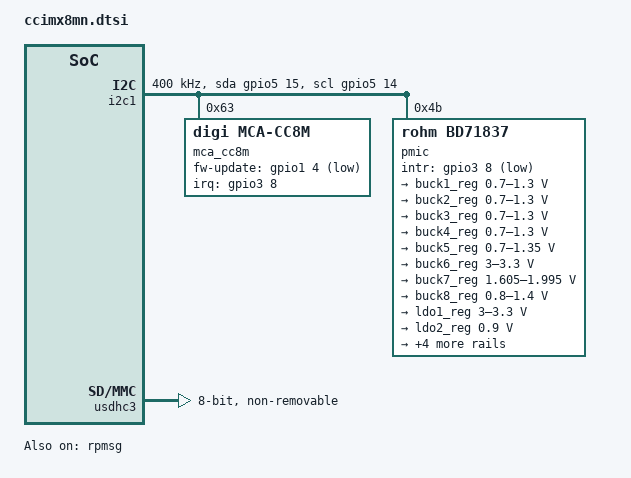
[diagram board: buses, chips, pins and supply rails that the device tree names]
/*
 * Copyright 2019, Digi International Inc.
 *
 * Permission to use, copy, modify, and/or distribute this software for any
 * purpose with or without fee is hereby granted, provided that the above
 * copyright notice and this permission notice appear in all copies.
 * THE SOFTWARE IS PROVIDED "AS IS" AND THE AUTHOR DISCLAIMS ALL WARRANTIES
 * WITH REGARD TO THIS SOFTWARE INCLUDING ALL IMPLIED WARRANTIES OF
 * MERCHANTABILITY AND FITNESS. IN NO EVENT SHALL THE AUTHOR BE LIABLE FOR
 * ANY SPECIAL, DIRECT, INDIRECT, OR CONSEQUENTIAL DAMAGES OR ANY DAMAGES
 * WHATSOEVER RESULTING FROM LOSS OF USE, DATA OR PROFITS, WHETHER IN AN
 * ACTION OF CONTRACT, NEGLIGENCE OR OTHER TORTIOUS ACTION, ARISING OUT OF
 * OR IN CONNECTION WITH THE USE OR PERFORMANCE OF THIS SOFTWARE.
 */

/ {
	aliases {
		i2c1 = &i2c1;
		i2c2 = &i2c2;
		i2c3 = &i2c3;
		i2c4 = &i2c4;
		mmc0 = &usdhc3;
		mmc1 = &usdhc2;
		mmc2 = &usdhc1;
	};

	/* Bluetooth, disabled by default */
	bluetooth: bluetooth {
		/* U-Boot will fill in the MAC address here */
		compatible = "digi,bluetooth-cc8x";
		vin-supply = <&reg_rf_bt_en>;
		status = "disabled";
	};

	caam_keyblob: caam-keyblob {
		compatible = "fsl,sec-v4.0-keyblob";
	};

	/* Wifi/Bluetooth regulators, disabled by default */
	regulators {
		compatible = "simple-bus";
		#address-cells = <1>;
		#size-cells = <0>;

		reg_3v3_rf: regulator-som@1 {
			compatible = "regulator-fixed";
			reg = <1>;
			pinctrl-names = "default";
			pinctrl-0 = <&pinctrl_reg_3v3_rf>;
			regulator-name = "3v3_rf";
			regulator-min-microvolt = <3300000>;
			regulator-max-microvolt = <3300000>;
			gpio = <&gpio3 14 GPIO_ACTIVE_HIGH>; /* 3V3_RF_EN */
			enable-active-high;
			startup-delay-us = <100000>;
			status = "disabled";
		};

		reg_rf_wl_en: regulator-som@2 {
			compatible = "regulator-fixed";
			reg = <2>;
			pinctrl-names = "default";
			pinctrl-0 = <&pinctrl_reg_rf_wl_en>;
			regulator-name = "rf_wl_en";
			regulator-min-microvolt = <3300000>;
			regulator-max-microvolt = <3300000>;
			gpio = <&gpio2 9 GPIO_ACTIVE_HIGH>; /* WL_EN */
			enable-active-high;
			startup-delay-us = <100>;
			vin-supply = <&reg_3v3_rf>;
			status = "disabled";
		};

		reg_rf_bt_en: regulator-som@3 {
			compatible = "regulator-fixed";
			reg = <3>;
			pinctrl-names = "default";
			pinctrl-0 = <&pinctrl_reg_rf_bt_en>;
			regulator-name = "rf_bt_en";
			regulator-min-microvolt = <3300000>;
			regulator-max-microvolt = <3300000>;
			gpio = <&gpio2 8 GPIO_ACTIVE_HIGH>; /* BT_EN */
			enable-active-high;
			startup-delay-us = <100>;
			vin-supply = <&reg_3v3_rf>;
			status = "disabled";
		};
	};

	reserved-memory {
		linux,cma {
			digi,size-table = <
				/* RAM         CMA*/
				0 0x20000000 0 0x6000000	/* 512 MB variants -> 96 MB of CMA */
				0 0x40000000 0 0x14000000	/* 1 GB variants   -> 320 MB of CMA */
			>;
		};
	};
};

/* I2C1 connected to MCA, PMIC and crypto chip */
&i2c1 {
	assigned-clock-rates = <48000000>;
	clock-frequency = <400000>;
	digi,buffer-time-us = <35>;
	pinctrl-names = "default", "gpio";
	pinctrl-0 = <&pinctrl_i2c1>;
	pinctrl-1 = <&pinctrl_i2c1_gpio>;
	scl-gpios = <&gpio5 14 GPIO_ACTIVE_HIGH>;
	sda-gpios = <&gpio5 15 GPIO_ACTIVE_HIGH>;
	status = "okay";

	mca_cc8m: mca@63 {
		compatible = "digi,mca-cc8m";
		reg = <0x63>;
		interrupt-parent = <&gpio3>;
		interrupts = <8 IRQ_TYPE_LEVEL_HIGH>;
		interrupt-controller;
		#interrupt-cells = <2>;
		fw-update-gpio = <&gpio1 4 GPIO_ACTIVE_LOW>;
		pinctrl-names = "default";
		pinctrl-0 = <&pinctrl_mca_cc8m>;

		mca_adc: adc {
			compatible = "digi,mca-cc8m-adc";
			digi,adc-vref = <3000000>;
		};

		mca_gpio: gpio {
			compatible = "digi,mca-cc8m-gpio";
			gpio-controller;
			#gpio-cells = <2>;

			interrupt-parent = <&mca_cc8m>;
			interrupt-controller;
			#interrupt-cells = <2>;

			/* Disable all mca GPIOs as power off wake up sources */
			pwroff-wakeup-capable-ios = <>;
		};

		pwrkey {
			compatible = "digi,mca-cc8m-pwrkey";
			digi,key-power;
			digi,key-power-up;
			digi,key-sleep;
			digi,debounce-ms = <100>;
			digi,pwroff-delay-sec = <6>;
			digi,pwroff-guard-sec = <30>;
		};

		rtc {
			compatible = "digi,mca-cc8m-rtc";
		};

		wdt {
			compatible = "digi,mca-cc8m-wdt";
			digi,full-reset;
		};

		pwms {
			compatible = "digi,mca-pwm";
			#address-cells = <1>;
			#size-cells = <0>;

			mca_pwm0: pwm@0 {
				reg = <0>;
				pwm-channels = <6>;
				#pwm-cells = <3>;
			};
		};

		mca_tamper: tamper {
			compatible = "digi,mca-cc8m-tamper";
		};

		mca_uart: uart {
			compatible = "digi,mca-cc8m-uart";
			#address-cells = <1>;
			#size-cells = <0>;

			mca_uart0: serial@0x900 {
				reg = <0x900>;
				index = <0>;
			};

			mca_uart1: serial@0x920 {
				reg = <0x920>;
				index = <1>;
			};

			mca_uart2: serial@0x940 {
				reg = <0x940>;
				index = <2>;
			};
		};
	};

	pmic: bd71837@4b {
		reg = <0x4b>;
		compatible = "rohm,bd71837";
		/* PMIC BD71837 PMIC_nINT GPIO3_IO8 */
		/* pinctrl configured by pinctrl_mca_cc8x */
		gpio_intr = <&gpio3 8 GPIO_ACTIVE_LOW>;

		gpo {
			rohm,drv = <0x0C>;	/* 0b0000_1100 all gpos with cmos output mode */
		};

		regulators {
			#address-cells = <1>;
			#size-cells = <0>;

			bd71837,pmic-buck2-uses-i2c-dvs;
			bd71837,pmic-buck2-dvs-voltage = <1000000>, <900000>, <0>; /* VDD_ARM: Run-Idle */

			buck1_reg: regulator@0 {
				reg = <0>;
				regulator-compatible = "buck1";
				regulator-min-microvolt = <700000>;
				regulator-max-microvolt = <1300000>;
				regulator-boot-on;
				regulator-always-on;
				regulator-ramp-delay = <1250>;
			};

			buck2_reg: regulator@1 {
				reg = <1>;
				regulator-compatible = "buck2";
				regulator-min-microvolt = <700000>;
				regulator-max-microvolt = <1300000>;
				regulator-boot-on;
				regulator-always-on;
				regulator-ramp-delay = <1250>;
			};

			buck3_reg: regulator@2 {
				reg = <2>;
				regulator-compatible = "buck3";
				regulator-min-microvolt = <700000>;
				regulator-max-microvolt = <1300000>;
			};

			buck4_reg: regulator@3 {
				reg = <3>;
				regulator-compatible = "buck4";
				regulator-min-microvolt = <700000>;
				regulator-max-microvolt = <1300000>;
			};

			buck5_reg: regulator@4 {
				reg = <4>;
				regulator-compatible = "buck5";
				regulator-min-microvolt = <700000>;
				regulator-max-microvolt = <1350000>;
			};

			buck6_reg: regulator@5 {
				reg = <5>;
				regulator-compatible = "buck6";
				regulator-min-microvolt = <3000000>;
				regulator-max-microvolt = <3300000>;
				regulator-boot-on;
				regulator-always-on;
			};

			buck7_reg: regulator@6 {
				reg = <6>;
				regulator-compatible = "buck7";
				regulator-min-microvolt = <1605000>;
				regulator-max-microvolt = <1995000>;
				regulator-boot-on;
				regulator-always-on;
			};

			buck8_reg: regulator@7 {
				reg = <7>;
				regulator-compatible = "buck8";
				regulator-min-microvolt = <800000>;
				regulator-max-microvolt = <1400000>;
				regulator-boot-on;
				regulator-always-on;
			};

			ldo1_reg: regulator@8 {
				reg = <8>;
				regulator-compatible = "ldo1";
				regulator-min-microvolt = <3000000>;
				regulator-max-microvolt = <3300000>;
				regulator-boot-on;
				regulator-always-on;
			};

			ldo2_reg: regulator@9 {
				reg = <9>;
				regulator-compatible = "ldo2";
				regulator-min-microvolt = <900000>;
				regulator-max-microvolt = <900000>;
				regulator-boot-on;
				regulator-always-on;
			};

			ldo3_reg: regulator@10 {
				reg = <10>;
				regulator-compatible = "ldo3";
				regulator-min-microvolt = <1800000>;
				regulator-max-microvolt = <3300000>;
				regulator-boot-on;
				regulator-always-on;
			};

			ldo4_reg: regulator@11 {
				reg = <11>;
				regulator-compatible = "ldo4";
				regulator-min-microvolt = <900000>;
				regulator-max-microvolt = <1800000>;
			};

			ldo5_reg: regulator@12 {
				reg = <12>;
				regulator-compatible = "ldo5";
				regulator-min-microvolt = <1800000>;
				regulator-max-microvolt = <3300000>;
			};

			ldo6_reg: regulator@13 {
				reg = <13>;
				regulator-compatible = "ldo6";
				regulator-min-microvolt = <900000>;
				regulator-max-microvolt = <1800000>;
				regulator-boot-on;
				regulator-always-on;
			};
		};
	};
};

&rpmsg{
	/*
	 * 64K for one rpmsg instance:
	 * --0xb8000000~0xb800ffff: pingpong
	 */
	vdev-nums = <1>;
	reg = <0x0 0xb8000000 0x0 0x10000>;
	status = "okay";
};

/* Disable CPU RTC */
&snvs_rtc {
	status = "disabled";
};

/* Disable CPU power key */
&snvs_pwrkey {
	status = "disabled";
};

/* UART2 (Bluetooth), disabled by default */
&uart2 {
	pinctrl-names = "default";
	pinctrl-0 = <&pinctrl_uart2>;
	assigned-clocks = <&clk IMX8MN_CLK_UART2>;
	assigned-clock-parents = <&clk IMX8MN_SYS_PLL1_80M>;
	fsl,uart-has-rtscts;
	status = "disabled";
};

/* USDHC1 (Wireless), disabled by default */
&usdhc1 {
	pinctrl-names = "default", "sleep";
	pinctrl-0 = <&pinctrl_usdhc1>;
	non-removable;
	no-1-8-v;
	bus-width = <4>;
	vmmc-supply = <&reg_rf_wl_en>;
	status = "disabled";
};

/* eMMC */
&usdhc3 {
	pinctrl-names = "default", "state_100mhz", "state_200mhz";
	pinctrl-0 = <&pinctrl_usdhc3>;
	pinctrl-1 = <&pinctrl_usdhc3_100mhz>;
	pinctrl-2 = <&pinctrl_usdhc3_200mhz>;
	bus-width = <8>;
	non-removable;
	status = "okay";
};

/* IOMUX */
&iomuxc {
	/* Internal I2C (MCA, Crypto chip) */
	pinctrl_i2c1: i2c1grp {
		fsl,pins = <
			MX8MN_IOMUXC_I2C1_SCL_I2C1_SCL			0x400001c3
			MX8MN_IOMUXC_I2C1_SDA_I2C1_SDA			0x400001c3
		>;
	};

	pinctrl_i2c1_gpio: i2c1grp-gpio {
		fsl,pins = <
			MX8MN_IOMUXC_I2C1_SCL_GPIO5_IO14		0x1c3
			MX8MN_IOMUXC_I2C1_SDA_GPIO5_IO15		0x1c3
		>;
	};

	pinctrl_mca_cc8m: mcagrp {
		fsl,pins = <
			/* MCA_nINT */
			MX8MN_IOMUXC_NAND_DATA02_GPIO3_IO8	0x56
			/* MCA_FW_UPDATE */
			MX8MN_IOMUXC_GPIO1_IO04_GPIO1_IO4	0x16
		>;
	};

	pinctrl_reg_3v3_rf: reg_3v3_rf_grp {
		fsl,pins = <
			/* Voltage for RF domain (3V3_RF_EN) */
			MX8MN_IOMUXC_NAND_DQS_GPIO3_IO14		0x41
		>;
	};

	pinctrl_reg_rf_wl_en: reg_rf_wl_en_grp {
		fsl,pins = <
			/* Wireless enable (WL_EN) */
			MX8MN_IOMUXC_SD1_DATA7_GPIO2_IO9		0x41
		>;
	};

	pinctrl_reg_rf_bt_en: reg_rf_bt_en_grp {
		fsl,pins = <
			/* Bluetooth enable (BT_EN) */
			MX8MN_IOMUXC_SD1_DATA6_GPIO2_IO8		0x41
		>;
	};

	/* UART2 (Bluetooth) */
	pinctrl_uart2: uart2grp {
		fsl,pins = <
			MX8MN_IOMUXC_SAI3_TXC_UART2_DCE_TX		0x140
			MX8MN_IOMUXC_SAI3_TXFS_UART2_DCE_RX		0x140
			MX8MN_IOMUXC_SAI3_RXD_UART2_DCE_RTS_B	0x140
			MX8MN_IOMUXC_SAI3_RXC_UART2_DCE_CTS_B	0x140
		>;
	};

	/* USDHC1 (Wireless) */
	pinctrl_usdhc1: usdhc1grp {
		fsl,pins = <
			MX8MN_IOMUXC_SD1_CLK_USDHC1_CLK		0x190
			MX8MN_IOMUXC_SD1_CMD_USDHC1_CMD		0x1d0
			MX8MN_IOMUXC_SD1_DATA0_USDHC1_DATA0	0x1d0
			MX8MN_IOMUXC_SD1_DATA1_USDHC1_DATA1	0x1d0
			MX8MN_IOMUXC_SD1_DATA2_USDHC1_DATA2	0x1d0
			MX8MN_IOMUXC_SD1_DATA3_USDHC1_DATA3	0x1d0
		>;
	};

	/* eMMC */
	pinctrl_usdhc3: usdhc3grp {
		fsl,pins = <
			MX8MN_IOMUXC_NAND_WE_B_USDHC3_CLK		0x190
			MX8MN_IOMUXC_NAND_WP_B_USDHC3_CMD		0x1d0
			MX8MN_IOMUXC_NAND_DATA04_USDHC3_DATA0		0x1d0
			MX8MN_IOMUXC_NAND_DATA05_USDHC3_DATA1		0x1d0
			MX8MN_IOMUXC_NAND_DATA06_USDHC3_DATA2		0x1d0
			MX8MN_IOMUXC_NAND_DATA07_USDHC3_DATA3		0x1d0
			MX8MN_IOMUXC_NAND_RE_B_USDHC3_DATA4		0x1d0
			MX8MN_IOMUXC_NAND_CE2_B_USDHC3_DATA5		0x1d0
			MX8MN_IOMUXC_NAND_CE3_B_USDHC3_DATA6		0x1d0
			MX8MN_IOMUXC_NAND_CLE_USDHC3_DATA7		0x1d0
			MX8MN_IOMUXC_NAND_CE1_B_USDHC3_STROBE 		0x190
			MX8MN_IOMUXC_NAND_READY_B_USDHC3_RESET_B	0x190
		>;
	};

	pinctrl_usdhc3_100mhz: usdhc3grp100mhz {
		fsl,pins = <
			MX8MN_IOMUXC_NAND_WE_B_USDHC3_CLK		0x194
			MX8MN_IOMUXC_NAND_WP_B_USDHC3_CMD		0x1d4
			MX8MN_IOMUXC_NAND_DATA04_USDHC3_DATA0		0x1d4
			MX8MN_IOMUXC_NAND_DATA05_USDHC3_DATA1		0x1d4
			MX8MN_IOMUXC_NAND_DATA06_USDHC3_DATA2		0x1d4
			MX8MN_IOMUXC_NAND_DATA07_USDHC3_DATA3		0x1d4
			MX8MN_IOMUXC_NAND_RE_B_USDHC3_DATA4		0x1d4
			MX8MN_IOMUXC_NAND_CE2_B_USDHC3_DATA5		0x1d4
			MX8MN_IOMUXC_NAND_CE3_B_USDHC3_DATA6		0x1d4
			MX8MN_IOMUXC_NAND_CLE_USDHC3_DATA7		0x1d4
			MX8MN_IOMUXC_NAND_CE1_B_USDHC3_STROBE 		0x194
			MX8MN_IOMUXC_NAND_READY_B_USDHC3_RESET_B	0x194
		>;
	};

	pinctrl_usdhc3_200mhz: usdhc3grp200mhz {
		fsl,pins = <
			MX8MN_IOMUXC_NAND_WE_B_USDHC3_CLK		0x196
			MX8MN_IOMUXC_NAND_WP_B_USDHC3_CMD		0x1d6
			MX8MN_IOMUXC_NAND_DATA04_USDHC3_DATA0		0x1d6
			MX8MN_IOMUXC_NAND_DATA05_USDHC3_DATA1		0x1d6
			MX8MN_IOMUXC_NAND_DATA06_USDHC3_DATA2		0x1d6
			MX8MN_IOMUXC_NAND_DATA07_USDHC3_DATA3		0x1d6
			MX8MN_IOMUXC_NAND_RE_B_USDHC3_DATA4		0x1d6
			MX8MN_IOMUXC_NAND_CE2_B_USDHC3_DATA5		0x1d6
			MX8MN_IOMUXC_NAND_CE3_B_USDHC3_DATA6		0x1d6
			MX8MN_IOMUXC_NAND_CLE_USDHC3_DATA7		0x1d6
			MX8MN_IOMUXC_NAND_CE1_B_USDHC3_STROBE 		0x196
			MX8MN_IOMUXC_NAND_READY_B_USDHC3_RESET_B	0x196
		>;
	};
};
